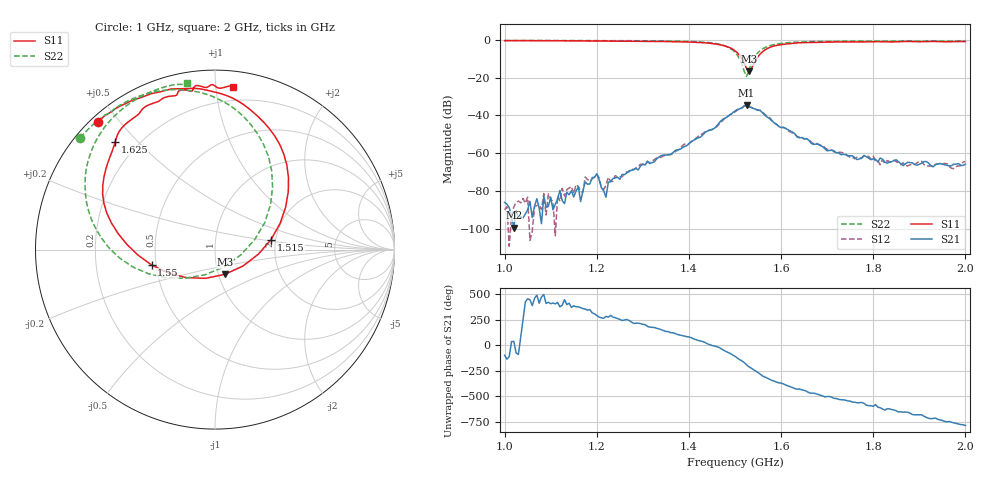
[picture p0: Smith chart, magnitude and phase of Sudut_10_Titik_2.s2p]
# Hz S RI R 50
! CMT, C1220, 16058040, 17.2.0/1
! Date: 14/08/2018 12:44:18
! Data: Format (Calibration Info)
! Freq  S11: Re/Im (F2)  S21: Re/Im (F2)  S12: Re/Im (F2)  S22: Re/Im (F2)
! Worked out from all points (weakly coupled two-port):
!   201 points, 1 GHz to 2 GHz, reference 50 ohm
!   highest |S21| = -34.66 dB at 1.525 GHz (marker M1); lowest = -99.5 dB at 1.02 GHz (marker M2)
!   lowest |S11| = -16.6 dB at 1.53 GHz (marker M3), VSWR 1.35, Z = 53.7 - j15.1 ohm
!   |S11| at or under -10 dB: 1.515 GHz to 1.547 GHz (31.77 MHz wide, 2.07 % of centre)
!   |S22| runs from -19.3 to -0.2 dB; largest |S21 - S12| = 0.00079
!   S11 on the Smith chart (normalised r, x): 1 GHz: 0.02, +0.44; 1.515 GHz: 1.89, +0.23; 1.55 GHz: 0.47, -0.09; 1.625 GHz: 0.12, +0.43; 2 GHz: 0.10, +1.11
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1e9  -0.6508 0.7134  -5.92e-06 -4.92e-05  -3.12e-05 3.88e-06  -0.7519 0.6223
1.02e9  -0.6301 0.7303  8.15e-06 6.81e-06  -4.9e-06 3.7e-05  -0.7385 0.6369
1.15e9  -0.4984 0.8134  6.14e-05 3.23e-05  8.53e-05 5.7e-06  -0.6362 0.7327
1.155e9  -0.4949 0.8153  9.54e-05 2.92e-05  0.000138 5.26e-05  -0.6315 0.7363
1.17e9  -0.4789 0.823  9.99e-05 7.7e-07  9.5e-05 5.92e-08  -0.6163 0.7472
1.175e9  -0.4716 0.8265  0.000171 -1.79e-05  0.000232 -2.47e-05  -0.6107 0.7503
1.2e9  -0.4366 0.8395  0.000108 -0.000262  9.47e-05 -0.000264  -0.5831 0.7603
1.215e9  -0.421 0.8444  -1.03e-05 -0.0001  4.24e-05 -0.000101  -0.576 0.769
1.225e9  -0.4061 0.8496  1.87e-05 -0.000167  9.75e-05 -0.000207  -0.5666 0.7794
1.335e9  -0.2162 0.8955  -0.000742 0.000265  -0.000693 0.00027  -0.4018 0.8616
1.45e9  0.1844 0.7889  0.00419 -0.000135  0.00427 -0.000418  0.0211 0.8373
1.5e9  0.4084 0.3221  -0.00405 -0.0126  -0.00382 -0.0118  0.3209 0.3492
1.515e9  0.3119 0.0551  -0.014 -0.0074  -0.0139 -0.00783  0.2205 0.0549
1.525e9  0.1547 -0.0921  -0.0182 0.00341  -0.0184 0.00333  0.0504 -0.0966
1.53e9  0.0553 -0.1377  -0.0148 0.00826  -0.0149 0.00824  -0.0566 -0.1405
1.55e9  -0.3533 -0.0857  -0.000845 0.0138  -0.00142 0.0138  -0.4574 -0.097
1.58e9  -0.6189 0.2587  0.00691 0.00202  0.00724 0.00178  -0.7039 0.2144
1.625e9  -0.5558 0.6005  0.00211 -0.00294  0.00207 -0.00275  -0.6995 0.5186
1.67e9  -0.4424 0.7414  -0.00053 -0.00163  -0.000527 -0.00171  -0.625 0.6685
1.835e9  -0.1368 0.8835  -7.52e-05 0.000567  -9.52e-05 0.000592  -0.3788 0.8695
1.975e9  0.0671 0.9082  0.000395 -0.00033  0.000293 -0.00026  -0.1849 0.9202
2e9  0.1019 0.9055  0.000217 -0.000466  0.000244 -0.000552  -0.157 0.9294
